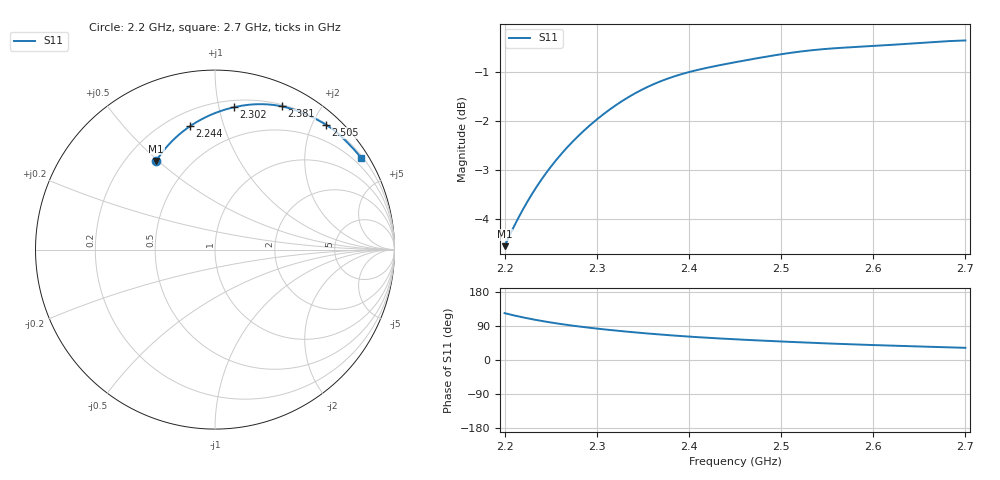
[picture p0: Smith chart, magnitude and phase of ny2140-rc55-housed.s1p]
! PRELIMINARY bare PCB unless shell_eps > 0; see README.md
! L220 output ($1N324); all Gerber copper, components omitted (C216/L220/C217 not populated)
# Hz S RI R 50
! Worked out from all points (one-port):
!   501 points, 2.2 GHz to 2.7 GHz, reference 50 ohm
!   lowest |S11| = -4.5 dB at 2.2 GHz (marker M1), VSWR 3.91, Z = 16.2 + j24.6 ohm
!   |S11| at or under -10 dB: nowhere
!   S11 on the Smith chart (normalised r, x): 2.2 GHz: 0.32, +0.49; 2.244 GHz: 0.29, +0.78; 2.302 GHz: 0.25, +1.11; 2.381 GHz: 0.22, +1.55; 2.505 GHz: 0.21, +2.21; 2.7 GHz: 0.26, +3.45
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2.2e9  -0.3278 0.4935
2.202e9  -0.3203 0.5051
2.207e9  -0.3008 0.5329
2.215e9  -0.2678 0.5739
2.223e9  -0.2333 0.6104
2.233e9  -0.1889 0.6503
2.244e9  -0.1394 0.6872
2.253e9  -0.0991 0.7126
2.263e9  -0.055 0.7362
2.272e9  -0.0162 0.7539
2.282e9  0.0259 0.7701
2.302e9  0.1062 0.7933
2.325e9  0.1924 0.8073
2.338e9  0.2382 0.8101
2.352e9  0.2848 0.8095
2.367e9  0.3316 0.8051
2.381e9  0.372 0.7981
2.388e9  0.3911 0.7938
2.417e9  0.4615 0.7719
2.45e9  0.5279 0.744
2.477e9  0.5751 0.7206
2.505e9  0.6193 0.6953
2.513e9  0.6311 0.6877
2.544e9  0.6729 0.6571
2.575e9  0.7079 0.6259
2.638e9  0.7655 0.5674
2.674e9  0.7946 0.5349
2.7e9  0.8131 0.5106
